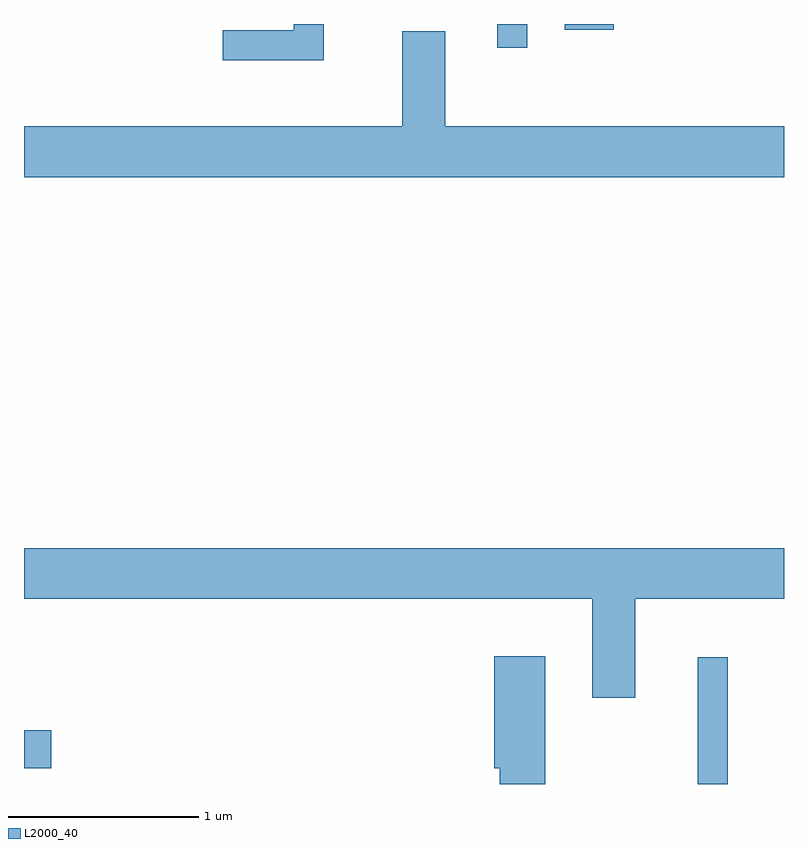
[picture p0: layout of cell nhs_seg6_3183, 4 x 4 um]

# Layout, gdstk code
import gdstk
lib = gdstk.Library(unit=1e-6, precision=1e-09)
def R(c, l, rs):  # rectangles x0, y0, x1, y1
    for r in rs: c.add(gdstk.rectangle(r[:2], r[2:], *l))
def P(c, l, *ps):  # polygons
    for p in ps: c.add(gdstk.Polygon(p, *l))
L2000_40 = (2000, 40)

nhs_seg6_3183 = lib.new_cell('nhs_seg6_3183')
R(nhs_seg6_3183, L2000_40, [(285.156,1560.162,285.314,1560.828), (281.611,1560.246,281.754,1560.444), (284.101,1564.038,284.259,1564.162), (284.456,1564.131,284.714,1564.162)])
P(nhs_seg6_3183, L2000_40, [(283.189,1564.162),(283.031,1564.162),(283.031,1564.129),(282.658,1564.129),(282.658,1563.971),(283.189,1563.971)],
  [(285.611,1563.624),(283.829,1563.624),(283.829,1564.124),(283.601,1564.124),(283.601,1563.624),(281.611,1563.624),(281.611,1563.356),(285.611,1563.356)],
  [(284.829,1561.136),(285.611,1561.136),(285.611,1561.404),(281.611,1561.404),(281.611,1561.136),(284.601,1561.136),(284.601,1560.616),(284.829,1560.616)],
  [(284.354,1560.834),(284.086,1560.834),(284.086,1560.246),(284.116,1560.246),(284.116,1560.162),(284.354,1560.162)])

lib.write_gds('nhs_seg6_3183.gds')
